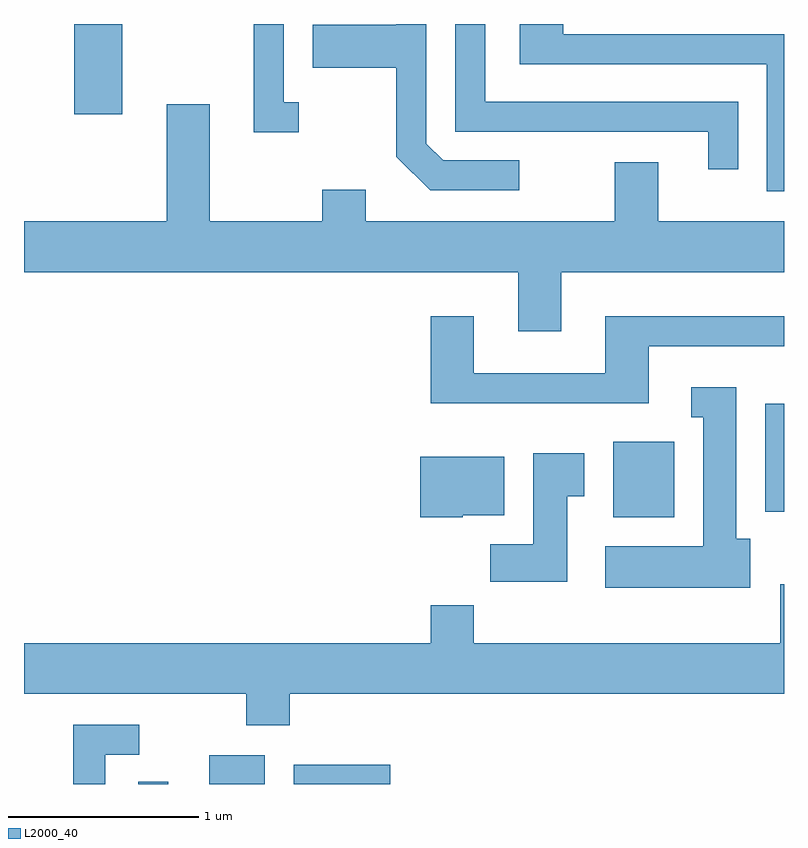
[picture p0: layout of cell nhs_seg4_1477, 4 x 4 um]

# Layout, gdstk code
import gdstk
lib = gdstk.Library(unit=1e-6, precision=1e-09)
def R(c, l, rs):  # rectangles x0, y0, x1, y1
    for r in rs: c.add(gdstk.rectangle(r[:2], r[2:], *l))
def P(c, l, *ps):  # polygons
    for p in ps: c.add(gdstk.Polygon(p, *l))
L2000_40 = (2000, 40)

nhs_seg4_1477 = lib.new_cell('nhs_seg4_1477')
R(nhs_seg4_1477, L2000_40, [(228.211,1351.982,228.369,1351.993), (228.586,1351.982,228.879,1352.134), (229.031,1351.982,229.538,1352.084), (230.711,1353.386,231.034,1353.784), (231.511,1353.416,231.611,1353.984), (227.876,1355.506,228.129,1355.982)])
P(nhs_seg4_1477, L2000_40, [(230.218,1355.264),(229.817,1355.264),(229.729,1355.352),(229.729,1355.982),(229.571,1355.982),(229.571,1355.979),(229.131,1355.979),(229.131,1355.751),(229.571,1355.751),(229.571,1355.284),(229.749,1355.106),(230.218,1355.106)],
  [(229.058,1355.569),(228.979,1355.569),(228.979,1355.982),(228.821,1355.982),(228.821,1355.411),(229.058,1355.411)],
  [(231.611,1355.929),(230.449,1355.929),(230.449,1355.982),(230.221,1355.982),(230.221,1355.771),(231.521,1355.771),(231.521,1355.101),(231.611,1355.101)],
  [(231.369,1355.574),(230.039,1355.574),(230.039,1355.982),(229.881,1355.982),(229.881,1355.416),(231.211,1355.416),(231.211,1355.218),(231.369,1355.218)],
  [(230.439,1354.676),(231.611,1354.676),(231.611,1354.944),(230.949,1354.944),(230.949,1355.254),(230.721,1355.254),(230.721,1354.944),(229.409,1354.944),(229.409,1355.109),(229.181,1355.109),(229.181,1354.944),(228.589,1354.944),(228.589,1355.559),(228.361,1355.559),(228.361,1354.944),(227.611,1354.944),(227.611,1354.676),(230.211,1354.676),(230.211,1354.366),(230.439,1354.366)],
  [(230.899,1354.286),(231.611,1354.286),(231.611,1354.444),(230.671,1354.444),(230.671,1354.144),(229.979,1354.144),(229.979,1354.444),(229.751,1354.444),(229.751,1353.986),(230.899,1353.986)],
  [(231.434,1353.274),(231.359,1353.274),(231.359,1354.069),(231.123,1354.069),(231.123,1353.911),(231.186,1353.911),(231.186,1353.234),(230.671,1353.234),(230.671,1353.016),(231.434,1353.016)],
  [(230.469,1353.496),(230.559,1353.496),(230.559,1353.724),(230.291,1353.724),(230.291,1353.244),(230.066,1353.244),(230.066,1353.046),(230.469,1353.046)],
  [(229.92,1353.396),(230.139,1353.396),(230.139,1353.704),(229.696,1353.704),(229.696,1353.386),(229.92,1353.386)],
  [(229.009,1352.456),(231.611,1352.456),(231.611,1353.034),(231.591,1353.034),(231.591,1352.724),(229.979,1352.724),(229.979,1352.924),(229.751,1352.924),(229.751,1352.724),(227.611,1352.724),(227.611,1352.456),(228.781,1352.456),(228.781,1352.291),(229.009,1352.291)],
  [(228.039,1352.136),(228.218,1352.136),(228.218,1352.294),(227.871,1352.294),(227.871,1351.982),(228.039,1351.982)])

lib.write_gds('nhs_seg4_1477.gds')
